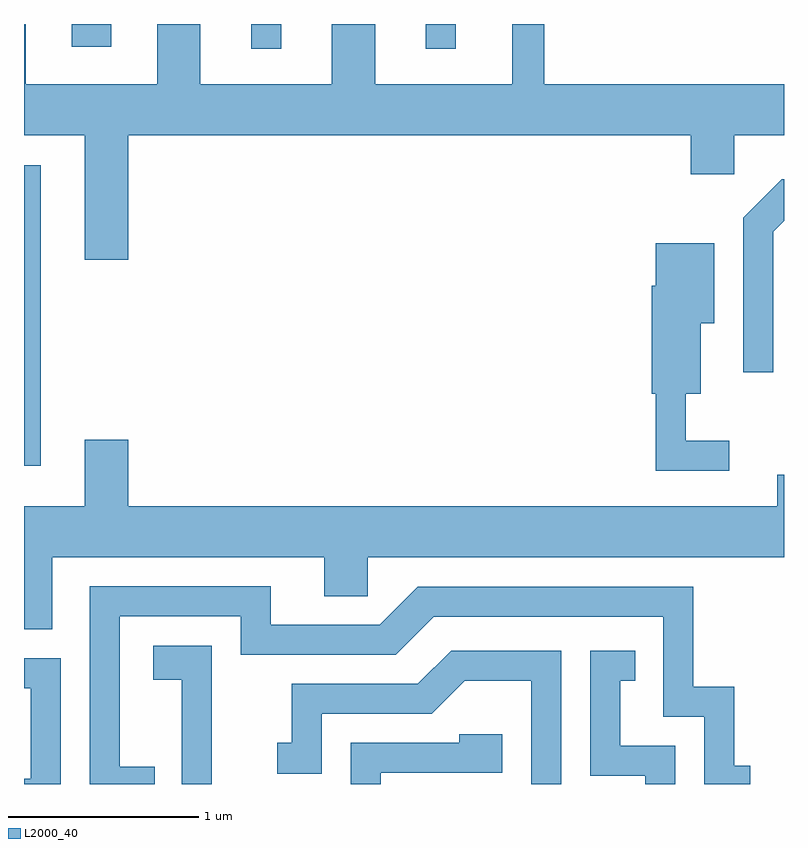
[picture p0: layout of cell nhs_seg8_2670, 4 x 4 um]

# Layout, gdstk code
import gdstk
lib = gdstk.Library(unit=1e-6, precision=1e-09)
def R(c, l, rs):  # rectangles x0, y0, x1, y1
    for r in rs: c.add(gdstk.rectangle(r[:2], r[2:], *l))
def P(c, l, *ps):  # polygons
    for p in ps: c.add(gdstk.Polygon(p, *l))
L2000_40 = (2000, 40)

nhs_seg8_2670 = lib.new_cell('nhs_seg8_2670')
R(nhs_seg8_2670, L2000_40, [(265.611,1828.016,265.699,1829.599), (266.806,1830.213,266.964,1830.342), (267.726,1830.213,267.884,1830.342), (265.861,1830.221,266.069,1830.342)])
P(nhs_seg8_2670, L2000_40, [(266.159,1829.756),(269.121,1829.756),(269.121,1829.551),(269.349,1829.551),(269.349,1829.756),(269.611,1829.756),(269.611,1830.024),(268.349,1830.024),(268.349,1830.342),(268.181,1830.342),(268.181,1830.024),(267.459,1830.024),(267.459,1830.342),(267.231,1830.342),(267.231,1830.024),(266.539,1830.024),(266.539,1830.342),(266.311,1830.342),(266.311,1830.024),(265.619,1830.024),(265.619,1830.342),(265.611,1830.342),(265.611,1829.756),(265.931,1829.756),(265.931,1829.101),(266.159,1829.101)],
  [(269.554,1829.249),(269.611,1829.306),(269.611,1829.524),(269.599,1829.524),(269.396,1829.322),(269.396,1828.508),(269.554,1828.508)],
  [(269.323,1828.149),(269.094,1828.149),(269.094,1828.396),(269.174,1828.396),(269.174,1828.766),(269.244,1828.766),(269.244,1829.189),(268.936,1829.189),(268.936,1828.964),(268.916,1828.964),(268.916,1828.396),(268.936,1828.396),(268.936,1827.991),(269.323,1827.991)],
  [(265.759,1827.536),(267.191,1827.536),(267.191,1827.331),(267.419,1827.331),(267.419,1827.536),(269.611,1827.536),(269.611,1827.969),(269.576,1827.969),(269.576,1827.804),(266.159,1827.804),(266.159,1828.154),(265.931,1828.154),(265.931,1827.804),(265.611,1827.804),(265.611,1827.156),(265.759,1827.156)],
  [(266.298,1826.434),(266.114,1826.434),(266.114,1827.226),(266.751,1827.226),(266.751,1827.021),(267.567,1827.021),(267.767,1827.221),(268.976,1827.221),(268.976,1826.696),(269.191,1826.696),(269.191,1826.342),(269.433,1826.342),(269.433,1826.439),(269.349,1826.439),(269.349,1826.854),(269.134,1826.854),(269.134,1827.379),(267.684,1827.379),(267.484,1827.179),(266.909,1827.179),(266.909,1827.384),(265.956,1827.384),(265.956,1826.342),(266.298,1826.342)],
  [(266.599,1827.069),(266.291,1827.069),(266.291,1826.891),(266.441,1826.891),(266.441,1826.342),(266.599,1826.342)],
  [(268.439,1827.044),(267.859,1827.044),(267.684,1826.869),(267.021,1826.869),(267.021,1826.559),(266.943,1826.559),(266.943,1826.396),(267.179,1826.396),(267.179,1826.711),(267.757,1826.711),(267.932,1826.886),(268.281,1826.886),(268.281,1826.342),(268.439,1826.342)],
  [(269.039,1826.544),(268.749,1826.544),(268.749,1826.886),(268.828,1826.886),(268.828,1827.044),(268.591,1827.044),(268.591,1826.386),(268.881,1826.386),(268.881,1826.342),(269.039,1826.342)],
  [(265.804,1827.004),(265.611,1827.004),(265.611,1826.846),(265.646,1826.846),(265.646,1826.369),(265.611,1826.369),(265.611,1826.342),(265.804,1826.342)],
  [(267.489,1826.401),(268.129,1826.401),(268.129,1826.604),(267.901,1826.604),(267.901,1826.559),(267.331,1826.559),(267.331,1826.342),(267.489,1826.342)])

lib.write_gds('nhs_seg8_2670.gds')
